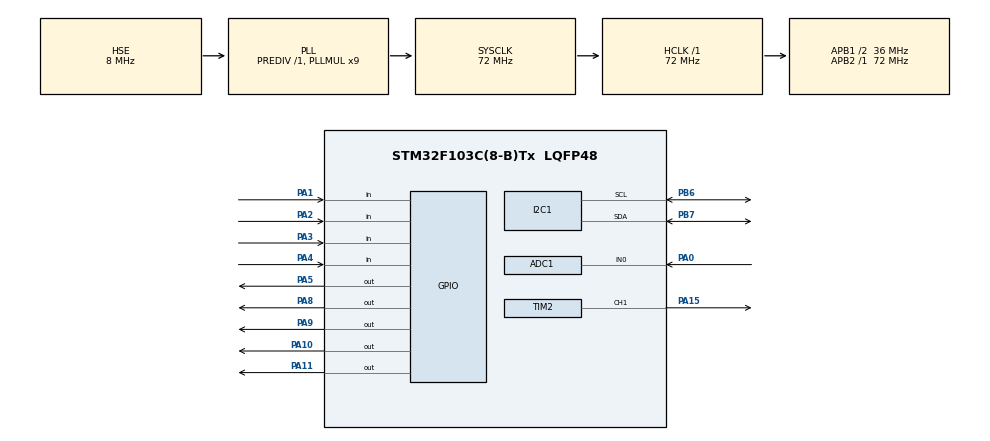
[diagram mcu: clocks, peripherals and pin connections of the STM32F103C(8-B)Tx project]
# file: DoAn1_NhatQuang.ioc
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ADC1.Channel-0\#ChannelRegularConversion=ADC_CHANNEL_0
ADC1.Channel-4\#ChannelRegularConversion=ADC_CHANNEL_0
ADC1.Channel-5\#ChannelRegularConversion=ADC_CHANNEL_0
ADC1.Channel-6\#ChannelRegularConversion=ADC_CHANNEL_0
ADC1.NbrOfConversion=4
ADC1.NbrOfConversionFlag=1
ADC1.Rank-0\#ChannelRegularConversion=1
ADC1.Rank-4\#ChannelRegularConversion=2
ADC1.Rank-5\#ChannelRegularConversion=3
ADC1.Rank-6\#ChannelRegularConversion=4
ADC1.SamplingTime-0\#ChannelRegularConversion=ADC_SAMPLETIME_28CYCLES_5
ADC1.SamplingTime-4\#ChannelRegularConversion=ADC_SAMPLETIME_1CYCLE_5
ADC1.SamplingTime-5\#ChannelRegularConversion=ADC_SAMPLETIME_1CYCLE_5
ADC1.SamplingTime-6\#ChannelRegularConversion=ADC_SAMPLETIME_1CYCLE_5
ADC1.master=1
Mcu.Family=STM32F1
Mcu.Name=STM32F103C(8-B)Tx
Mcu.Package=LQFP48
NVIC.PriorityGroup=NVIC_PRIORITYGROUP_4
PA0-WKUP.Signal=ADCx_IN0
PA1.Signal=GPIO_Input
PA10.Signal=GPIO_Output
PA11.Signal=GPIO_Output
PA13.Mode=Serial_Wire
PA13.Signal=SYS_JTMS-SWDIO
PA14.Mode=Serial_Wire
PA14.Signal=SYS_JTCK-SWCLK
PA15.Signal=S_TIM2_CH1_ETR
PA2.Signal=GPIO_Input
PA3.Signal=GPIO_Input
PA4.Signal=GPIO_Input
PA5.Signal=GPIO_Output
PA8.Signal=GPIO_Output
PA9.Signal=GPIO_Output
PB6.Mode=I2C
PB6.Signal=I2C1_SCL
PB7.Mode=I2C
PB7.Signal=I2C1_SDA
PD0-OSC_IN.Mode=HSE-External-Oscillator
PD0-OSC_IN.Signal=RCC_OSC_IN
PD1-OSC_OUT.Mode=HSE-External-Oscillator
PD1-OSC_OUT.Signal=RCC_OSC_OUT
ProjectManager.HeapSize=0x200
ProjectManager.StackSize=0x400
ProjectManager.TargetToolchain=STM32CubeIDE
RCC.ADCPresc=RCC_ADCPCLK2_DIV6
RCC.AHBFreq_Value=72000000
RCC.APB1CLKDivider=RCC_HCLK_DIV2
RCC.APB1Freq_Value=36000000
RCC.APB1TimFreq_Value=72000000
RCC.APB2Freq_Value=72000000
RCC.APB2TimFreq_Value=72000000
RCC.HCLKFreq_Value=72000000
RCC.PLLMUL=RCC_PLL_MUL9
RCC.PLLSourceVirtual=RCC_PLLSOURCE_HSE
RCC.SYSCLKFreq_VALUE=72000000
RCC.SYSCLKSource=RCC_SYSCLKSOURCE_PLLCLK
RCC.USBFreq_Value=72000000
SH.ADCx_IN0.0=ADC1_IN0,IN0
SH.S_TIM2_CH1_ETR.0=TIM2_CH1,PWM Generation1 CH1
TIM2.Channel-PWM\ Generation1\ CH1=TIM_CHANNEL_1
TIM2.Period=4999
TIM2.Prescaler=199
VP_TIM2_VS_ClockSourceINT.Mode=Internal
board=custom

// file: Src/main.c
/* USER CODE BEGIN Header */
/**
  ******************************************************************************
  * @file           : main.c
  * @brief          : Main program body
  ******************************************************************************
  * @attention
  *
  * Copyright (c) 2024 STMicroelectronics.
  * All rights reserved.
  *
  * This software is licensed under terms that can be found in the LICENSE file
  * in the root directory of this software component.
  * If no LICENSE file comes with this software, it is provided AS-IS.
  *
  ******************************************************************************
  */
/* USER CODE END Header */
#include "main.h"
/* USER CODE BEGIN Includes */
#include "i2c-lcd.h"
#include "stm32f1xx_hal_tim.h"
#include "stm32f1xx_hal.h"
#include "stdio.h"
/* USER CODE END Includes */

/* USER CODE BEGIN PTD */
volatile uint8_t temp;
volatile uint8_t smoke;
volatile uint8_t gas;
volatile uint8_t flame;
volatile uint8_t button;
//array
volatile uint8_t array[2];
/* USER CODE END PTD */

/* USER CODE BEGIN PD */
void readTemp();
uint16_t ADC_VAL;
/* USER CODE END PD */

/* USER CODE BEGIN PM */
void Display_Temp (float Temp)
{
	char str[40] = {0};
	lcd_put_cur(0, 0);

	sprintf (str, "TEMP:%.2f", Temp);
	lcd_send_string(str);
	lcd_send_data('C');
}
void display_smoke (uint8_t smoke1)
{
	char str[40] = {0};
	lcd_put_cur(1, 0);
	sprintf (str, "smk:%d", smoke1);
	lcd_send_string(str);
}
void display_flame (uint8_t flame1)
{
	char str[40] = {0};
	lcd_put_cur(1,6);

	sprintf (str, "flm:%d", flame1);
	lcd_send_string(str);
}
void display_gas(uint8_t gas1)
{
	char str[40] = {0};
	lcd_put_cur(1, 11);

	sprintf (str, "gs:%d", gas1);
	lcd_send_string(str);
}
/* USER CODE END PM */

ADC_HandleTypeDef hadc1;

I2C_HandleTypeDef hi2c1;

TIM_HandleTypeDef htim2;

void SystemClock_Config(void);
static void MX_GPIO_Init(void);
static void MX_ADC1_Init(void);
static void MX_I2C1_Init(void);
static void MX_TIM2_Init(void);
/* USER CODE BEGIN PFP */
uint16_t var=0;
float val = 0.0;

#define Avg_Slope .0025
#define V25 0.76

float Temp = 0.0;
/* USER CODE END PFP */

/* USER CODE BEGIN 0 */
int row = 0;
int col = 0;
/* USER CODE END 0 */

int main(void)
{

  /* MCU Configuration--------------------------------------------------------*/

  /* Reset of all peripherals, Initializes the Flash interface and the Systick. */
  HAL_Init();

  /* Configure the system clock */
  SystemClock_Config();

  /* Initialize all configured peripherals */
  MX_GPIO_Init();
  MX_ADC1_Init();
  MX_I2C1_Init();
  MX_TIM2_Init();

  /* Infinite loop */
  /* USER CODE BEGIN WHILE */
	lcd_init();

	lcd_put_cur(0,1);

	lcd_send_string ("NHAT QUANG");

  HAL_Delay(1000);

	lcd_clear();

	HAL_Delay(100);

  lcd_put_cur(1, 0);

  lcd_send_string("CHAO THAY");

	HAL_Delay(1600);

	lcd_clear();

	lcd_put_cur(1,0);

	lcd_send_string("NKLOI dep trai");

  HAL_Delay(1900);

  lcd_clear ();

	lcd_put_cur(0,2);

	lcd_send_string("Bao cao do an 1");

	lcd_put_cur(1,1);

	lcd_send_string("xin duoc bat dau");

	HAL_Delay(1000);

	lcd_clear();

	HAL_GPIO_WritePin(GPIOA,GPIO_PIN_8,1);
  while (1)
  {
    /* USER CODE END WHILE */

    /* USER CODE BEGIN 3 */
		HAL_GPIO_WritePin(GPIOA,GPIO_PIN_10,1);
		HAL_GPIO_WritePin(GPIOA,GPIO_PIN_9,1);
		HAL_GPIO_WritePin(GPIOA,GPIO_PIN_11,1);
		HAL_GPIO_WritePin(GPIOA,GPIO_PIN_5,0);
		HAL_GPIO_WritePin(GPIOA,GPIO_PIN_4,1);
		HAL_GPIO_WritePin(GPIOA,GPIO_PIN_8,1);
		HAL_GPIO_WritePin(GPIOA,GPIO_PIN_1,1);
		HAL_GPIO_WritePin(GPIOA,GPIO_PIN_2,1);
		HAL_GPIO_WritePin(GPIOA,GPIO_PIN_3,1);
		smoke = HAL_GPIO_ReadPin(GPIOA,GPIO_PIN_2);
		gas = HAL_GPIO_ReadPin(GPIOA,GPIO_PIN_1);
		flame = HAL_GPIO_ReadPin(GPIOA,GPIO_PIN_3);
		button = HAL_GPIO_ReadPin(GPIOA,GPIO_PIN_4);
		readTemp();
		Display_Temp(Temp);
		display_flame(flame);
		display_gas(gas);
		display_smoke(smoke);
		if(button == 0)
		{
			//Nut khong nhan, che do tu dong bao chay
			/****Cac truong hop phat hien chay va motor se tu dong bat bao gom******/
			//**** FLAME - LED GREEN - PA10******//
			//****** SMOKE - LED BLUE - PA11****//
			//*******GAS - LED RED - PA9*****//
			lcd_put_cur(0,13);
			lcd_send_string("AUTO");
			HAL_Delay(2000);
			if(flame == 0 || smoke == 0 || gas == 0) //phat hien lua, khoi , gas
			{
			lcd_put_cur(0,13);
			lcd_send_string("ALT"); //ALT = ALERT, CANH BAO
			HAL_GPIO_WritePin(GPIOA,GPIO_PIN_5,0); //BAT QUAT
			HAL_Delay(2000);
			HAL_GPIO_WritePin(GPIOA,GPIO_PIN_8,0); //BAT COI
				if(flame == 0)
				{
					HAL_GPIO_WritePin(GPIOA,GPIO_PIN_11,0);
					HAL_Delay(100);
					HAL_GPIO_WritePin(GPIOA,GPIO_PIN_5,0); //BAT QUAT
					HAL_Delay(2000);
				}
				if(smoke == 0)
				{
					HAL_GPIO_WritePin(GPIOA,GPIO_PIN_10,0);
					HAL_Delay(100);
					HAL_GPIO_WritePin(GPIOA,GPIO_PIN_5,0); //BAT QUAT
					HAL_Delay(2000);
				}
				if(gas == 0)
				{
					HAL_GPIO_WritePin(GPIOA,GPIO_PIN_9,0);
					HAL_Delay(100);
					HAL_GPIO_WritePin(GPIOA,GPIO_PIN_5,0); //BAT QUAT
					HAL_Delay(2000);
				}
			}
		}
	else //ho tro nau an
		{
			lcd_put_cur(0,11);
			lcd_send_string("cook"); //COOKING ASSISTANT MODE
			HAL_Delay(2000);
			HAL_GPIO_WritePin(GPIOA,GPIO_PIN_5,0); //BAT QUAT
			HAL_Delay(1000);

			if(flame == 0 || smoke == 0 || gas == 0) //phat hien lua, khoi , gas
			{
			lcd_put_cur(0,12);
			lcd_send_string("DTC"); //DETECT-PHAT HIEN
			if(flame == 0)
				{
					HAL_GPIO_WritePin(GPIOA,GPIO_PIN_11,0);
					HAL_Delay(100);
					HAL_GPIO_WritePin(GPIOA,GPIO_PIN_5,0); //BAT QUAT
					HAL_Delay(2000);
				}
				if(smoke == 0)
				{
					HAL_GPIO_WritePin(GPIOA,GPIO_PIN_10,0);
					HAL_Delay(100);
					HAL_GPIO_WritePin(GPIOA,GPIO_PIN_5,0); //BAT QUAT
					HAL_Delay(2000);
				}
				if(gas == 0)
				{
					HAL_GPIO_WritePin(GPIOA,GPIO_PIN_9,0);
					HAL_Delay(100);
					HAL_GPIO_WritePin(GPIOA,GPIO_PIN_5,0); //BAT QUAT
					HAL_Delay(2000);
				}
			}
		}
	}

  }
void readTemp()
{
	var = val*4096/3.3;
	val+=0.1;
	if (val>=5) val=0;
	HAL_ADC_Start(&hadc1);
	HAL_ADC_PollForConversion(&hadc1, 1000);
	ADC_VAL = HAL_ADC_GetValue(&hadc1);
	HAL_ADC_Stop(&hadc1);
	Temp = ((5.0*ADC_VAL/4095 - V25)/Avg_Slope)+25;
	Temp = Temp*4/90+29.0;
	HAL_Delay (100);

}
  /* USER CODE END 3 */

void SystemClock_Config(void)
{
  RCC_OscInitTypeDef RCC_OscInitStruct = {0};
  RCC_ClkInitTypeDef RCC_ClkInitStruct = {0};
  RCC_PeriphCLKInitTypeDef PeriphClkInit = {0};

  /** Initializes the RCC Oscillators according to the specified parameters
  * in the RCC_OscInitTypeDef structure.
  */
  RCC_OscInitStruct.OscillatorType = RCC_OSCILLATORTYPE_HSE;
  RCC_OscInitStruct.HSEState = RCC_HSE_ON;
  RCC_OscInitStruct.HSEPredivValue = RCC_HSE_PREDIV_DIV1;
  RCC_OscInitStruct.HSIState = RCC_HSI_ON;
  RCC_OscInitStruct.PLL.PLLState = RCC_PLL_ON;
  RCC_OscInitStruct.PLL.PLLSource = RCC_PLLSOURCE_HSE;
  RCC_OscInitStruct.PLL.PLLMUL = RCC_PLL_MUL9;
  if (HAL_RCC_OscConfig(&RCC_OscInitStruct) != HAL_OK)
  {
    Error_Handler();
  }

  /** Initializes the CPU, AHB and APB buses clocks
  */
  RCC_ClkInitStruct.ClockType = RCC_CLOCKTYPE_HCLK|RCC_CLOCKTYPE_SYSCLK
                              |RCC_CLOCKTYPE_PCLK1|RCC_CLOCKTYPE_PCLK2;
  RCC_ClkInitStruct.SYSCLKSource = RCC_SYSCLKSOURCE_PLLCLK;
  RCC_ClkInitStruct.AHBCLKDivider = RCC_SYSCLK_DIV1;
  RCC_ClkInitStruct.APB1CLKDivider = RCC_HCLK_DIV2;
  RCC_ClkInitStruct.APB2CLKDivider = RCC_HCLK_DIV1;

  if (HAL_RCC_ClockConfig(&RCC_ClkInitStruct, FLASH_LATENCY_2) != HAL_OK)
  {
    Error_Handler();
  }
  PeriphClkInit.PeriphClockSelection = RCC_PERIPHCLK_ADC;
  PeriphClkInit.AdcClockSelection = RCC_ADCPCLK2_DIV6;
  if (HAL_RCCEx_PeriphCLKConfig(&PeriphClkInit) != HAL_OK)
  {
    Error_Handler();
  }
}

static void MX_ADC1_Init(void)
{

  ADC_ChannelConfTypeDef sConfig = {0};

  /** Common config
  */
  hadc1.Instance = ADC1;
  hadc1.Init.ScanConvMode = ADC_SCAN_ENABLE;
  hadc1.Init.ContinuousConvMode = DISABLE;
  hadc1.Init.DiscontinuousConvMode = DISABLE;
  hadc1.Init.ExternalTrigConv = ADC_SOFTWARE_START;
  hadc1.Init.DataAlign = ADC_DATAALIGN_RIGHT;
  hadc1.Init.NbrOfConversion = 4;
  if (HAL_ADC_Init(&hadc1) != HAL_OK)
  {
    Error_Handler();
  }

  /** Configure Regular Channel
  */
  sConfig.Channel = ADC_CHANNEL_0;
  sConfig.Rank = ADC_REGULAR_RANK_1;
  sConfig.SamplingTime = ADC_SAMPLETIME_28CYCLES_5;
  if (HAL_ADC_ConfigChannel(&hadc1, &sConfig) != HAL_OK)
  {
    Error_Handler();
  }

  /** Configure Regular Channel
  */
  sConfig.Rank = ADC_REGULAR_RANK_2;
  sConfig.SamplingTime = ADC_SAMPLETIME_1CYCLE_5;
  if (HAL_ADC_ConfigChannel(&hadc1, &sConfig) != HAL_OK)
  {
    Error_Handler();
  }

  /** Configure Regular Channel
  */
  sConfig.Rank = ADC_REGULAR_RANK_3;
  if (HAL_ADC_ConfigChannel(&hadc1, &sConfig) != HAL_OK)
  {
    Error_Handler();
  }

  /** Configure Regular Channel
  */
  sConfig.Rank = ADC_REGULAR_RANK_4;
  if (HAL_ADC_ConfigChannel(&hadc1, &sConfig) != HAL_OK)
  {
    Error_Handler();
  }

}

static void MX_I2C1_Init(void)
{

  hi2c1.Instance = I2C1;
  hi2c1.Init.ClockSpeed = 100000;
  hi2c1.Init.DutyCycle = I2C_DUTYCYCLE_2;
  hi2c1.Init.OwnAddress1 = 0;
  hi2c1.Init.AddressingMode = I2C_ADDRESSINGMODE_7BIT;
  hi2c1.Init.DualAddressMode = I2C_DUALADDRESS_DISABLE;
  hi2c1.Init.OwnAddress2 = 0;
  hi2c1.Init.GeneralCallMode = I2C_GENERALCALL_DISABLE;
  hi2c1.Init.NoStretchMode = I2C_NOSTRETCH_DISABLE;
  if (HAL_I2C_Init(&hi2c1) != HAL_OK)
  {
    Error_Handler();
  }

}

static void MX_TIM2_Init(void)
{

  TIM_ClockConfigTypeDef sClockSourceConfig = {0};
  TIM_MasterConfigTypeDef sMasterConfig = {0};
  TIM_OC_InitTypeDef sConfigOC = {0};

  htim2.Instance = TIM2;
  htim2.Init.Prescaler = 199;
  htim2.Init.CounterMode = TIM_COUNTERMODE_UP;
  htim2.Init.Period = 4999;
  htim2.Init.ClockDivision = TIM_CLOCKDIVISION_DIV1;
  htim2.Init.AutoReloadPreload = TIM_AUTORELOAD_PRELOAD_DISABLE;
  if (HAL_TIM_Base_Init(&htim2) != HAL_OK)
  {
    Error_Handler();
  }
  sClockSourceConfig.ClockSource = TIM_CLOCKSOURCE_INTERNAL;
  if (HAL_TIM_ConfigClockSource(&htim2, &sClockSourceConfig) != HAL_OK)
  {
    Error_Handler();
  }
  if (HAL_TIM_PWM_Init(&htim2) != HAL_OK)
  {
    Error_Handler();
  }
  sMasterConfig.MasterOutputTrigger = TIM_TRGO_RESET;
  sMasterConfig.MasterSlaveMode = TIM_MASTERSLAVEMODE_DISABLE;
  if (HAL_TIMEx_MasterConfigSynchronization(&htim2, &sMasterConfig) != HAL_OK)
  {
    Error_Handler();
  }
  sConfigOC.OCMode = TIM_OCMODE_PWM1;
  sConfigOC.Pulse = 0;
  sConfigOC.OCPolarity = TIM_OCPOLARITY_HIGH;
  sConfigOC.OCFastMode = TIM_OCFAST_DISABLE;
  if (HAL_TIM_PWM_ConfigChannel(&htim2, &sConfigOC, TIM_CHANNEL_1) != HAL_OK)
  {
    Error_Handler();
  }
  HAL_TIM_MspPostInit(&htim2);

}

static void MX_GPIO_Init(void)
{
  GPIO_InitTypeDef GPIO_InitStruct = {0};

  /* GPIO Ports Clock Enable */
  __HAL_RCC_GPIOD_CLK_ENABLE();
  __HAL_RCC_GPIOA_CLK_ENABLE();
  __HAL_RCC_GPIOB_CLK_ENABLE();

  /*Configure GPIO pin Output Level */
  HAL_GPIO_WritePin(GPIOA, GPIO_PIN_5|GPIO_PIN_8|GPIO_PIN_9|GPIO_PIN_10
                          |GPIO_PIN_11, GPIO_PIN_RESET);

  /*Configure GPIO pins : PA1 PA2 PA3 PA4 */
  GPIO_InitStruct.Pin = GPIO_PIN_1|GPIO_PIN_2|GPIO_PIN_3|GPIO_PIN_4;
  GPIO_InitStruct.Mode = GPIO_MODE_INPUT;
  GPIO_InitStruct.Pull = GPIO_NOPULL;
  HAL_GPIO_Init(GPIOA, &GPIO_InitStruct);

  /*Configure GPIO pins : PA5 PA8 PA9 PA10
                           PA11 */
  GPIO_InitStruct.Pin = GPIO_PIN_5|GPIO_PIN_8|GPIO_PIN_9|GPIO_PIN_10
                          |GPIO_PIN_11;
  GPIO_InitStruct.Mode = GPIO_MODE_OUTPUT_PP;
  GPIO_InitStruct.Pull = GPIO_NOPULL;
  GPIO_InitStruct.Speed = GPIO_SPEED_FREQ_LOW;
  HAL_GPIO_Init(GPIOA, &GPIO_InitStruct);

}

void Error_Handler(void)
{
  __disable_irq();
  while (1)
  {
  }
}
